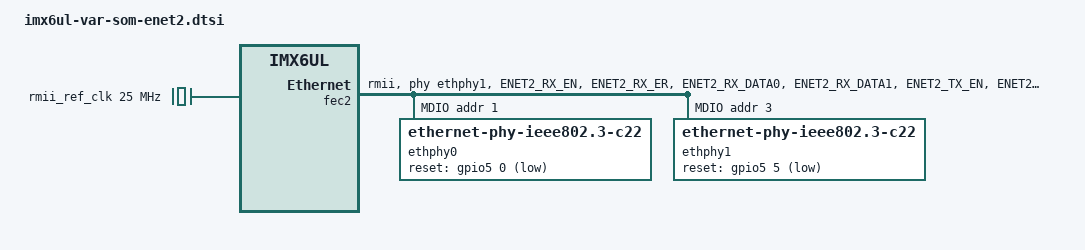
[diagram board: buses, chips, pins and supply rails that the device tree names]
// SPDX-License-Identifier: GPL-2.0+
/*
 * Ethernet ENET2 support for Variscite VAR-SOM-6UL module.
 *
 * Copyright 2019-2024 Variscite Ltd.
 * Copyright 2026 Dimonoff
 */

/ {
	rmii_ref_clk: rmii-ref-clk {
		compatible = "fixed-clock";
		#clock-cells = <0>;
		clock-frequency = <25000000>;
		clock-output-names = "rmii-ref";
	};
};

&fec2 {
	pinctrl-names = "default";
	pinctrl-0 = <&pinctrl_enet2>, <&pinctrl_enet2_gpio>, <&pinctrl_enet2_mdio>;
	phy-mode = "rmii";
	phy-handle = <&ethphy1>;
	status = "okay";

	mdio_enet2: mdio {
		#address-cells = <1>;
		#size-cells = <0>;

		ethphy0: ethernet-phy@1 {
			compatible = "ethernet-phy-ieee802.3-c22";
			reg = <1>;
			clocks = <&rmii_ref_clk>;
			clock-names = "rmii-ref";
			reset-gpios = <&gpio5 0 GPIO_ACTIVE_LOW>;
			reset-assert-us = <100000>;
			micrel,led-mode = <1>;
			micrel,rmii-reference-clock-select-25-mhz;
		};

		ethphy1: ethernet-phy@3 {
			compatible = "ethernet-phy-ieee802.3-c22";
			reg = <3>;
			clocks = <&rmii_ref_clk>;
			clock-names = "rmii-ref";
			reset-gpios = <&gpio5 5 GPIO_ACTIVE_LOW>;
			reset-assert-us = <100000>;
			micrel,led-mode = <0>;
			micrel,rmii-reference-clock-select-25-mhz;
		};
	};
};

&iomuxc {
	pinctrl_enet2: enet2grp {
		fsl,pins = <
			MX6UL_PAD_ENET2_RX_EN__ENET2_RX_EN	0x1b0b0
			MX6UL_PAD_ENET2_RX_ER__ENET2_RX_ER	0x1b0b0
			MX6UL_PAD_ENET2_RX_DATA0__ENET2_RDATA00	0x1b0b0
			MX6UL_PAD_ENET2_RX_DATA1__ENET2_RDATA01	0x1b0b0
			MX6UL_PAD_ENET2_TX_EN__ENET2_TX_EN	0x1b0b0
			MX6UL_PAD_ENET2_TX_DATA0__ENET2_TDATA00	0x1b0b0
			MX6UL_PAD_ENET2_TX_DATA1__ENET2_TDATA01	0x1b0b0
			MX6UL_PAD_ENET2_TX_CLK__ENET2_REF_CLK2	0x4001b031
		>;
	};

	pinctrl_enet2_gpio: enet2-gpiogrp {
		fsl,pins = <
			MX6UL_PAD_SNVS_TAMPER5__GPIO5_IO05	0x1b0b0 /* fec2 reset */
		>;
	};

	pinctrl_enet2_mdio: enet2-mdiogrp {
		fsl,pins = <
			MX6UL_PAD_GPIO1_IO06__ENET2_MDIO	0x1b0b0
			MX6UL_PAD_GPIO1_IO07__ENET2_MDC		0x1b0b0
		>;
	};
};
